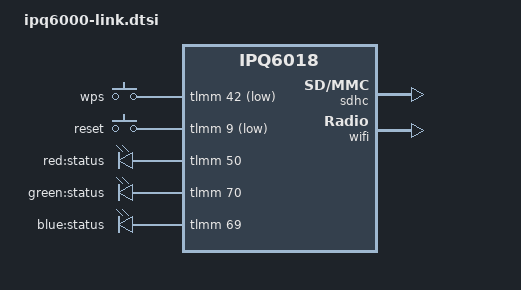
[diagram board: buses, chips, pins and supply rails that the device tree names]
// SPDX-License-Identifier: GPL-2.0-or-later OR MIT

#include "ipq6018.dtsi"
#include "ipq6018-ess.dtsi"
#include "ipq6018-nss.dtsi"
#include "ipq6018-common.dtsi"

#include <dt-bindings/gpio/gpio.h>
#include <dt-bindings/input/input.h>
#include <dt-bindings/leds/common.h>

/ {
	aliases {
		serial0 = &blsp1_uart3;

		led-boot = &led_status_blue;
		led-failsafe = &led_status_red;
		led-running = &led_status_green;
		led-upgrade = &led_status_red;
	};

	chosen {
		stdout-path = "serial0:115200n8";
	};

	keys {
		compatible = "gpio-keys";

		wps {
			label = "wps";
			linux,code = <KEY_WPS_BUTTON>;
			gpios = <&tlmm 42 GPIO_ACTIVE_LOW>;
		};

		reset {
			label = "reset";
			linux,code = <KEY_RESTART>;
			gpios = <&tlmm 9 GPIO_ACTIVE_LOW>;
		};
	};

	leds {
		compatible = "gpio-leds";

		led_status_red: status-red {
			label = "red:status";
			gpios = <&tlmm 50 GPIO_ACTIVE_HIGH>;
		};

		led_status_green: status-green {
			label = "green:status";
			gpios = <&tlmm 70 GPIO_ACTIVE_HIGH>;
		};

		led_status_blue: status-blue {
			label = "blue:status";
			gpios = <&tlmm 69 GPIO_ACTIVE_HIGH>;
		};
	};
};

&sdhc {
	status = "okay";

	/delete-property/ mmc-hs400-1_8v;
	mmc-hs200-1_8v;
	mmc-ddr-1_8v;
};

&wifi {
	status = "okay";
	qcom,ath11k-fw-memory-mode = <1>;
	qcom,ath11k-calibration-variant = "Link-NN6000";
};

&edma {
	status = "okay";
};
